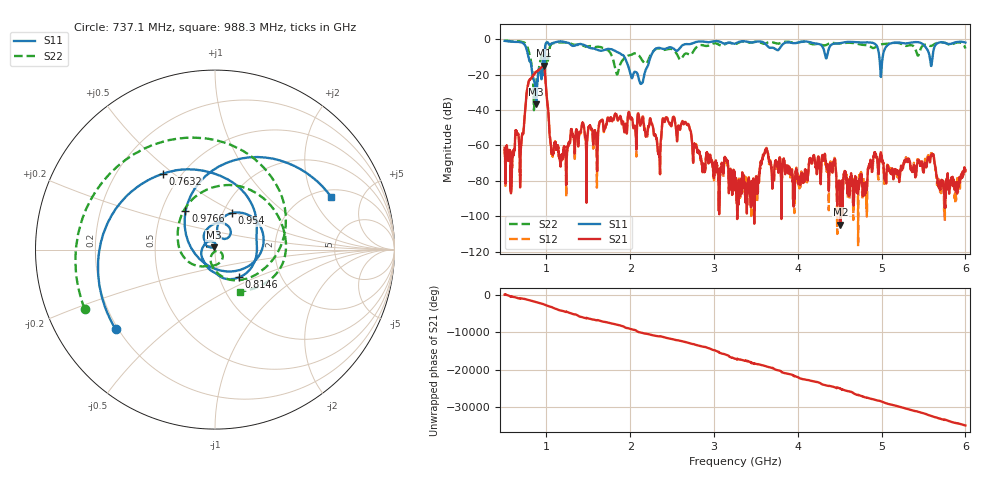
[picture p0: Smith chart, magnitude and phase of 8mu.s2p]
# Hz S DB R 50
! CMT, C2409, 19096212, 19.2.3/2
! Date: 3/29/2022 2:58:53 AM
! Data: Format (Calibration Info)
! Freq	S11:dB/Ang(F2)	S21:dB/Ang(F2)	S12:dB/Ang(F2)	S22:dB/Ang(F2)
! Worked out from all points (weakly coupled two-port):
!   5001 points, 500 MHz to 6 GHz, reference 50 ohm
!   highest |S21| = -15.02 dB at 970.3 MHz (marker M1); lowest = -104.6 dB at 4.509 GHz (marker M2)
!   lowest |S11| = -36.6 dB at 877.6 MHz (marker M3), VSWR 1.03, Z = 49.3 + j1.28 ohm
!   |S11| at or under -10 dB: 785.1 MHz to 977.3 MHz (192.2 MHz wide, 21.8 % of centre); 1.93 GHz to 2.242 GHz (312.2 MHz wide, 15 % of centre); 4.973 GHz to 5.013 GHz (40.1 MHz wide, 0.803 % of centre) (the widest 3 of 5)
!   |S22| runs from -40.1 to -0.7 dB; largest |S21 - S12| = 0.0023
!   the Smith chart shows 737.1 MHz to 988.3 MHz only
!   S11 on the Smith chart (normalised r, x): 737.1 MHz: 0.19, -0.34; 763.2 MHz: 0.40, +0.46; 814.6 MHz: 1.24, -0.40; 954 MHz: 1.10, +0.47; 976.6 MHz: 0.66, +0.31; 988.3 MHz: 2.33, +2.78
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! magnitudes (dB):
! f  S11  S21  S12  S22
! 500 MHz  -1.0  -61.2  -62.0  -0.7
! 580.7 MHz  -1.4  -77.8  -80.1  -1.1
! 633.8 MHz  -1.5  -51.3  -51.3  -1.1
! 685.5 MHz  -1.7  -83.7  -81.5  -1.2
! 737.1 MHz  -3.0  -44.9  -44.7  -2.0
! 763.2 MHz  -5.8  -30.4  -30.3  -3.5
! 814.6 MHz  -13.8  -22.2  -22.1  -12.4
! 877.6 MHz  -36.6  -18.5  -18.5  -23.9
! 954 MHz  -13.0  -15.6  -15.7  -8.2
! 970.3 MHz  -16.5  -15.0  -15.1  -8.0
! 976.6 MHz  -11.4  -16.1  -16.2  -8.6
! 988.3 MHz  -3.0  -24.1  -24.2  -11.3
! 1.068 GHz  -2.3  -63.5  -64.1  -2.5
! 1.417 GHz  -2.8  -50.0  -50.8  -3.4
! 2.129 GHz  -25.2  -47.6  -47.2  -10.9
! 2.334 GHz  -4.9  -64.1  -60.7  -5.2
! 2.648 GHz  -2.9  -47.0  -47.3  -8.4
! 3.251 GHz  -2.5  -81.9  -81.2  -2.8
! 4.168 GHz  -2.0  -70.2  -69.3  -2.8
! 4.509 GHz  -2.2  -104.6  -87.6  -2.4
! 5.085 GHz  -2.9  -73.1  -71.8  -2.5
! 6 GHz  -1.9  -73.7  -75.3  -5.3
